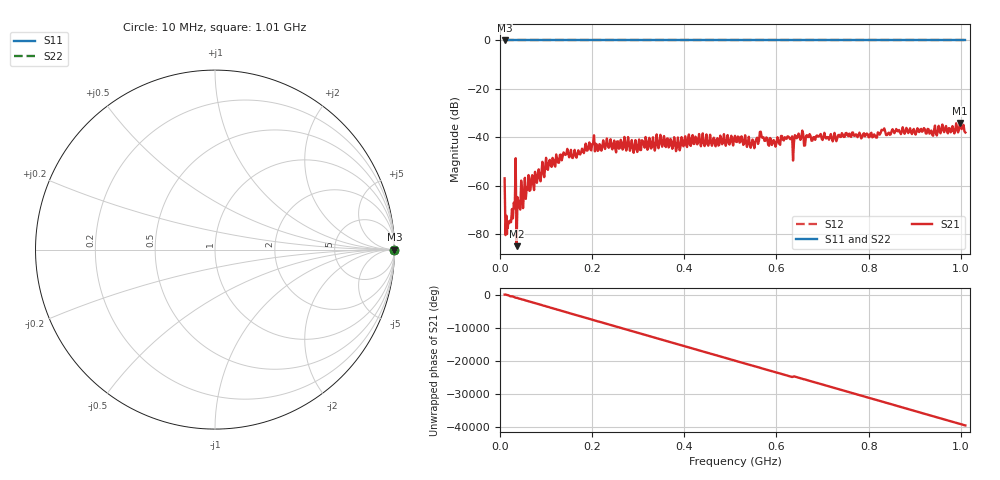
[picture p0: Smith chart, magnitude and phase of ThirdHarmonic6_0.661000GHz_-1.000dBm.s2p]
! 8/15/2025 9:58:42 PM
! C:\ANRITSUVNA\TEMP\TEMP.S2P
! CHANNEL.1
! TR.MEASUREMENT
! RAW.DATA
! RF.CORRECTION.OFF
! AVERAGING.OFF
! IF.BANDWIDTH: 5KHZ
! SWEEPTYPE:  FREQ.SWEEP(Linear)
! Reference Plane Port Info
! PORT:  PORT1  PORT2
! DISTANCE:  0  m  0  m
! TIME:  0  s  0  s
! PHASE.OFFSET:  0  deg.  0  deg.
! LOSS:  0  dB  0  dB
! REF.LOSS:  0  dB  0  dB
! REF.FREQ:  0  Hz  0  Hz
! Power Info
! POWER:  -20  dBm  -20  dBm
! EFF.POWER:  -20  dBm  -20  dBm
! SOURCE.ATTEN:  0  dB  0  dB
! TEST.ATTEN:  0  dB  0  dB
# GHZ S RI R 50.0
! FREQ.GHZ  S11RE  S11IM  S21RE  S21IM  S12RE  S12IM  S22RE  S22IM
!; PortSelection: Port_12
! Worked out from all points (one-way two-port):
!   501 points, 10 MHz to 1.01 GHz, reference 50 ohm
!   highest |S21| = -33.97 dB at 998 MHz (marker M1); lowest = -84.8 dB at 36 MHz (marker M2)
!   lowest |S11| = 0.0 dB at 10 MHz (marker M3)
!   |S11| at or under -10 dB: nowhere
!   |S22| runs from 0.0 to 0.0 dB; largest |S21 - S12| = 1
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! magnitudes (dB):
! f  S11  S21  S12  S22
! 10 MHz  0.0  -56.8  0.0  0.0
! 16 MHz  0.0  -79.8  0.0  0.0
! 28 MHz  0.0  -73.4  0.0  0.0
! 30 MHz  0.0  -66.9  0.0  0.0
! 32 MHz  0.0  -69.2  0.0  0.0
! 36 MHz  0.0  -84.8  0.0  0.0
! 38 MHz  0.0  -64.6  0.0  0.0
! 40 MHz  0.0  -66.5  0.0  0.0
! 42 MHz  0.0  -68.8  0.0  0.0
! 50 MHz  0.0  -69.1  0.0  0.0
! 104 MHz  0.0  -53.3  0.0  0.0
! 178 MHz  0.0  -44.6  0.0  0.0
! 204 MHz  0.0  -39.1  0.0  0.0
! 294 MHz  0.0  -41.1  0.0  0.0
! 344 MHz  0.0  -44.4  0.0  0.0
! 386 MHz  0.0  -40.0  0.0  0.0
! 414 MHz  0.0  -43.5  0.0  0.0
! 510 MHz  0.0  -39.3  0.0  0.0
! 678 MHz  0.0  -41.3  0.0  0.0
! 844 MHz  0.0  -38.0  0.0  0.0
! 998 MHz  0.0  -34.0  0.0  0.0
! 1.01 GHz  0.0  -37.9  0.0  0.0
